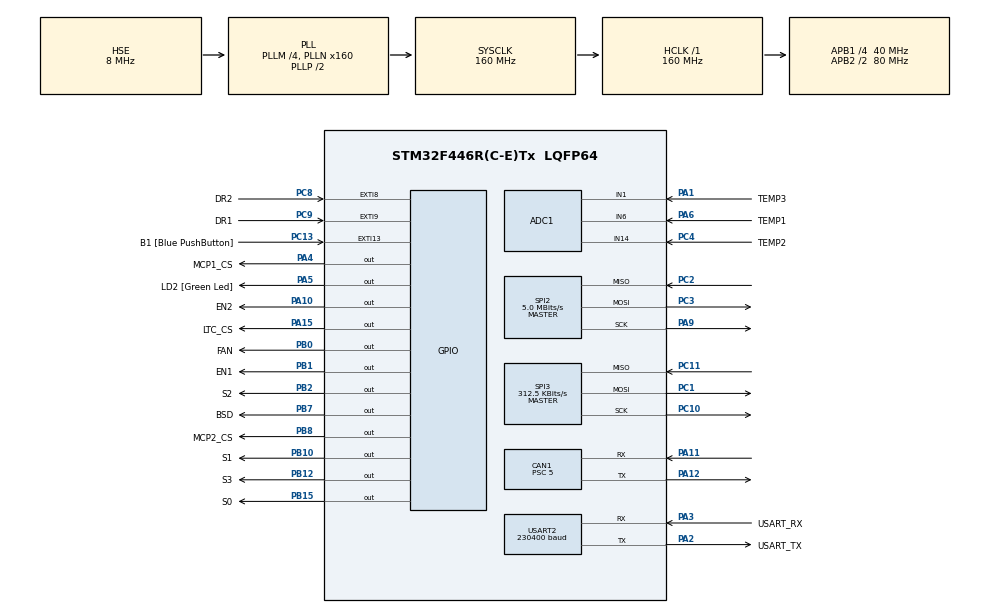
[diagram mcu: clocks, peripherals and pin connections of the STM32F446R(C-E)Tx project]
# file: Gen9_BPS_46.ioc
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ADC1.Channel-31\#ChannelRegularConversion=ADC_CHANNEL_6
ADC1.Channel-32\#ChannelRegularConversion=ADC_CHANNEL_14
ADC1.Channel-33\#ChannelRegularConversion=ADC_CHANNEL_1
ADC1.EnableAnalogWatchDog=false
ADC1.NbrOfConversion=3
ADC1.NbrOfConversionFlag=1
ADC1.Rank-31\#ChannelRegularConversion=1
ADC1.Rank-32\#ChannelRegularConversion=2
ADC1.Rank-33\#ChannelRegularConversion=3
ADC1.SamplingTime-31\#ChannelRegularConversion=ADC_SAMPLETIME_15CYCLES
ADC1.SamplingTime-32\#ChannelRegularConversion=ADC_SAMPLETIME_15CYCLES
ADC1.SamplingTime-33\#ChannelRegularConversion=ADC_SAMPLETIME_15CYCLES
ADC1.ScanConvMode=ENABLE
ADC1.master=1
CAN1.ABOM=ENABLE
CAN1.AWUM=ENABLE
CAN1.BS1=CAN_BS1_13TQ
CAN1.BS2=CAN_BS2_2TQ
CAN1.CalculateTimeBit=2000
CAN1.CalculateTimeQuantum=125.0
CAN1.Mode=CAN_MODE_NORMAL
CAN1.Prescaler=5
CAN1.SJW=CAN_SJW_1TQ
Dma.ADC1.6.Direction=DMA_PERIPH_TO_MEMORY
Dma.ADC1.6.FIFOMode=DMA_FIFOMODE_DISABLE
Dma.ADC1.6.Instance=DMA2_Stream0
Dma.ADC1.6.MemDataAlignment=DMA_MDATAALIGN_HALFWORD
Dma.ADC1.6.MemInc=DMA_MINC_ENABLE
Dma.ADC1.6.Mode=DMA_NORMAL
Dma.ADC1.6.PeriphDataAlignment=DMA_PDATAALIGN_HALFWORD
Dma.ADC1.6.PeriphInc=DMA_PINC_DISABLE
Dma.ADC1.6.Priority=DMA_PRIORITY_LOW
Dma.Request0=USART2_RX
Dma.Request1=USART2_TX
Dma.Request2=SPI2_RX
Dma.Request3=SPI2_TX
Dma.Request4=SPI3_RX
Dma.Request5=SPI3_TX
Dma.Request6=ADC1
Dma.SPI2_RX.2.Direction=DMA_PERIPH_TO_MEMORY
Dma.SPI2_RX.2.FIFOMode=DMA_FIFOMODE_DISABLE
Dma.SPI2_RX.2.Instance=DMA1_Stream3
Dma.SPI2_RX.2.MemDataAlignment=DMA_MDATAALIGN_BYTE
Dma.SPI2_RX.2.MemInc=DMA_MINC_ENABLE
Dma.SPI2_RX.2.Mode=DMA_NORMAL
Dma.SPI2_RX.2.PeriphDataAlignment=DMA_PDATAALIGN_BYTE
Dma.SPI2_RX.2.PeriphInc=DMA_PINC_DISABLE
Dma.SPI2_RX.2.Priority=DMA_PRIORITY_HIGH
Dma.SPI2_TX.3.Direction=DMA_MEMORY_TO_PERIPH
Dma.SPI2_TX.3.FIFOMode=DMA_FIFOMODE_DISABLE
Dma.SPI2_TX.3.Instance=DMA1_Stream4
Dma.SPI2_TX.3.MemDataAlignment=DMA_MDATAALIGN_BYTE
Dma.SPI2_TX.3.MemInc=DMA_MINC_ENABLE
Dma.SPI2_TX.3.Mode=DMA_NORMAL
Dma.SPI2_TX.3.PeriphDataAlignment=DMA_PDATAALIGN_BYTE
Dma.SPI2_TX.3.PeriphInc=DMA_PINC_DISABLE
Dma.SPI2_TX.3.Priority=DMA_PRIORITY_MEDIUM
Dma.SPI3_RX.4.Direction=DMA_PERIPH_TO_MEMORY
Dma.SPI3_RX.4.FIFOMode=DMA_FIFOMODE_DISABLE
Dma.SPI3_RX.4.Instance=DMA1_Stream0
Dma.SPI3_RX.4.MemDataAlignment=DMA_MDATAALIGN_BYTE
Dma.SPI3_RX.4.MemInc=DMA_MINC_ENABLE
Dma.SPI3_RX.4.Mode=DMA_NORMAL
Dma.SPI3_RX.4.PeriphDataAlignment=DMA_PDATAALIGN_BYTE
Dma.SPI3_RX.4.PeriphInc=DMA_PINC_DISABLE
Dma.SPI3_RX.4.Priority=DMA_PRIORITY_VERY_HIGH
Dma.SPI3_TX.5.Direction=DMA_MEMORY_TO_PERIPH
Dma.SPI3_TX.5.FIFOMode=DMA_FIFOMODE_DISABLE
Dma.SPI3_TX.5.Instance=DMA1_Stream7
Dma.SPI3_TX.5.MemDataAlignment=DMA_MDATAALIGN_BYTE
Dma.SPI3_TX.5.MemInc=DMA_MINC_ENABLE
Dma.SPI3_TX.5.Mode=DMA_NORMAL
Dma.SPI3_TX.5.PeriphDataAlignment=DMA_PDATAALIGN_BYTE
Dma.SPI3_TX.5.PeriphInc=DMA_PINC_DISABLE
Dma.SPI3_TX.5.Priority=DMA_PRIORITY_HIGH
Dma.USART2_RX.0.Direction=DMA_PERIPH_TO_MEMORY
Dma.USART2_RX.0.FIFOMode=DMA_FIFOMODE_DISABLE
Dma.USART2_RX.0.Instance=DMA1_Stream5
Dma.USART2_RX.0.MemDataAlignment=DMA_MDATAALIGN_BYTE
Dma.USART2_RX.0.MemInc=DMA_MINC_ENABLE
Dma.USART2_RX.0.Mode=DMA_CIRCULAR
Dma.USART2_RX.0.PeriphDataAlignment=DMA_PDATAALIGN_BYTE
Dma.USART2_RX.0.PeriphInc=DMA_PINC_DISABLE
Dma.USART2_RX.0.Priority=DMA_PRIORITY_HIGH
Dma.USART2_TX.1.Direction=DMA_MEMORY_TO_PERIPH
Dma.USART2_TX.1.FIFOMode=DMA_FIFOMODE_DISABLE
Dma.USART2_TX.1.Instance=DMA1_Stream6
Dma.USART2_TX.1.MemDataAlignment=DMA_MDATAALIGN_BYTE
Dma.USART2_TX.1.MemInc=DMA_MINC_ENABLE
Dma.USART2_TX.1.Mode=DMA_NORMAL
Dma.USART2_TX.1.PeriphDataAlignment=DMA_PDATAALIGN_BYTE
Dma.USART2_TX.1.PeriphInc=DMA_PINC_DISABLE
Dma.USART2_TX.1.Priority=DMA_PRIORITY_MEDIUM
FREERTOS.BinarySemaphores01=mcp3909_DR;mcp3909_RX;bmsTRxComplete
FREERTOS.HEAP_NUMBER=4
FREERTOS.INCLUDE_eTaskGetState=1
FREERTOS.INCLUDE_vTaskDelayUntil=1
FREERTOS.INCLUDE_xQueueGetMutexHolder=1
FREERTOS.INCLUDE_xSemaphoreGetMutexHolder=1
FREERTOS.INCLUDE_xTaskGetCurrentTaskHandle=1
FREERTOS.Mutexes01=swMtx
FREERTOS.Queues01=mainCanTxQ,64,Can_frame_t,NULL,Dynamic,NULL,NULL;mainCanRxQ,16,Can_frame_t,NULL,Dynamic,NULL,NULL
FREERTOS.Tasks01=Application,-2,512,doApplication,Default,NULL,Dynamic,NULL,NULL;Can_Processor,1,512,doProcessCan,Default,NULL,Dynamic,NULL,NULL;RT,3,512,doRT,Default,NULL,Dynamic,NULL,NULL;SMT,1,512,doSMT,Default,NULL,Dynamic,NULL,NULL;TMT,2,512,doTMT,Default,NULL,Dynamic,NULL,NULL;fucktard,3,512,doFucktard,Default,NULL,Dynamic,NULL,NULL
FREERTOS.Timers01=WWDGTmr,TmrKickDog,osTimerPeriodic,Default;HBTmr,TmrSendHB,osTimerPeriodic,Default
FREERTOS.configCHECK_FOR_STACK_OVERFLOW=2
FREERTOS.configENABLE_BACKWARD_COMPATIBILITY=0
FREERTOS.configMAX_PRIORITIES=7
FREERTOS.configMINIMAL_STACK_SIZE=512
FREERTOS.configTIMER_QUEUE_LENGTH=8
FREERTOS.configTIMER_TASK_PRIORITY=6
FREERTOS.configTIMER_TASK_STACK_DEPTH=512
FREERTOS.configTOTAL_HEAP_SIZE=65536
FREERTOS.configUSE_MALLOC_FAILED_HOOK=1
FREERTOS.configUSE_PORT_OPTIMISED_TASK_SELECTION=1
FREERTOS.configUSE_TASK_NOTIFICATIONS=0
FREERTOS.configUSE_TIMERS=1
FREERTOS.configUSE_TRACE_FACILITY=0
Mcu.Family=STM32F4
Mcu.Name=STM32F446R(C-E)Tx
Mcu.Package=LQFP64
NVIC.CAN1_RX0_IRQn=true\:5\:0\:false\:false\:true\:true
NVIC.CAN1_RX1_IRQn=true\:5\:0\:false\:false\:true\:true
NVIC.CAN1_SCE_IRQn=true\:5\:0\:false\:false\:true\:true
NVIC.CAN1_TX_IRQn=true\:5\:0\:false\:false\:true\:true
NVIC.DMA1_Stream0_IRQn=true\:5\:0\:false\:false\:true\:true
NVIC.DMA1_Stream3_IRQn=true\:6\:0\:true\:false\:true\:true
NVIC.DMA1_Stream4_IRQn=true\:6\:0\:true\:false\:true\:true
NVIC.DMA1_Stream5_IRQn=true\:6\:0\:true\:false\:true\:true
NVIC.DMA1_Stream6_IRQn=true\:6\:0\:true\:false\:true\:true
NVIC.DMA1_Stream7_IRQn=true\:5\:0\:false\:false\:true\:true
NVIC.DMA2_Stream0_IRQn=true\:5\:0\:false\:false\:true\:true
NVIC.EXTI9_5_IRQn=true\:6\:0\:true\:false\:true\:true
NVIC.PriorityGroup=NVIC_PRIORITYGROUP_4
NVIC.SPI2_IRQn=true\:6\:0\:true\:false\:true\:true
NVIC.SPI3_IRQn=true\:5\:0\:false\:false\:true\:true
NVIC.TIM6_DAC_IRQn=true\:0\:0\:false\:false\:true\:false
NVIC.TimeBase=TIM6_DAC_IRQn
NVIC.TimeBaseIP=TIM6
NVIC.USART2_IRQn=true\:5\:0\:false\:false\:true\:true
PA1.GPIO_Label=TEMP3
PA1.Signal=ADCx_IN1
PA10.GPIO_Label=EN2
PA10.GPIO_ModeDefaultOutputPP=GPIO_MODE_OUTPUT_OD
PA10.GPIO_PuPd=GPIO_NOPULL
PA10.GPIO_Speed=GPIO_SPEED_FREQ_VERY_HIGH
PA10.PinState=GPIO_PIN_RESET
PA10.Signal=GPIO_Output
PA11.Mode=Master
PA11.Signal=CAN1_RX
PA12.Mode=Master
PA12.Signal=CAN1_TX
PA13.GPIO_Label=TMS
PA13.Mode=Serial_Wire
PA13.Signal=SYS_JTMS-SWDIO
PA14.GPIO_Label=TCK
PA14.Mode=Serial_Wire
PA14.Signal=SYS_JTCK-SWCLK
PA15.GPIO_Label=LTC_CS
PA15.GPIO_PuPd=GPIO_PULLUP
PA15.GPIO_Speed=GPIO_SPEED_FREQ_VERY_HIGH
PA15.PinState=GPIO_PIN_SET
PA15.Signal=GPIO_Output
PA2.GPIO_Label=USART_TX
PA2.Mode=Asynchronous
PA2.Signal=USART2_TX
PA3.GPIO_Label=USART_RX
PA3.Mode=Asynchronous
PA3.Signal=USART2_RX
PA4.GPIO_Label=MCP1_CS
PA4.GPIO_ModeDefaultOutputPP=GPIO_MODE_OUTPUT_OD
PA4.GPIO_PuPd=GPIO_PULLUP
PA4.GPIO_Speed=GPIO_SPEED_FREQ_VERY_HIGH
PA4.PinState=GPIO_PIN_SET
PA4.Signal=GPIO_Output
PA5.GPIO_Label=LD2 [Green Led]
PA5.GPIO_Speed=GPIO_SPEED_FREQ_VERY_HIGH
PA5.Signal=GPIO_Output
PA6.GPIO_Label=TEMP1
PA6.Signal=ADCx_IN6
PA9.Mode=Full_Duplex_Master
PA9.Signal=SPI2_SCK
PB0.GPIO_Label=FAN
PB0.GPIO_Speed=GPIO_SPEED_FREQ_VERY_HIGH
PB0.Signal=GPIO_Output
PB1.GPIO_Label=EN1
PB1.GPIO_ModeDefaultOutputPP=GPIO_MODE_OUTPUT_OD
PB1.GPIO_PuPd=GPIO_NOPULL
PB1.GPIO_Speed=GPIO_SPEED_FREQ_VERY_HIGH
PB1.PinState=GPIO_PIN_RESET
PB1.Signal=GPIO_Output
PB10.GPIO_Label=S1
PB10.GPIO_Speed=GPIO_SPEED_FREQ_VERY_HIGH
PB10.Signal=GPIO_Output
PB12.GPIO_Label=S3
PB12.GPIO_Speed=GPIO_SPEED_FREQ_VERY_HIGH
PB12.Signal=GPIO_Output
PB15.GPIO_Label=S0
PB15.GPIO_Speed=GPIO_SPEED_FREQ_VERY_HIGH
PB15.Signal=GPIO_Output
PB2.GPIO_Label=S2
PB2.GPIO_PuPd=GPIO_NOPULL
PB2.GPIO_Speed=GPIO_SPEED_FREQ_VERY_HIGH
PB2.Signal=GPIO_Output
PB3.GPIO_Label=SWO
PB3.Signal=SYS_JTDO-SWO
PB5.Signal=CAN2_RX
PB6.Signal=CAN2_TX
PB7.GPIO_Label=BSD
PB7.GPIO_Speed=GPIO_SPEED_FREQ_MEDIUM
PB7.PinState=GPIO_PIN_SET
PB7.Signal=GPIO_Output
PB8.GPIO_Label=MCP2_CS
PB8.GPIO_ModeDefaultOutputPP=GPIO_MODE_OUTPUT_OD
PB8.GPIO_PuPd=GPIO_PULLUP
PB8.GPIO_Speed=GPIO_SPEED_FREQ_VERY_HIGH
PB8.PinState=GPIO_PIN_SET
PB8.Signal=GPIO_Output
PC1.GPIO_PuPd=GPIO_PULLUP
PC1.Mode=Full_Duplex_Master
PC1.Signal=SPI3_MOSI
PC10.GPIO_Mode=GPIO_MODE_AF_PP
PC10.GPIO_PuPd=GPIO_PULLUP
PC10.Mode=Full_Duplex_Master
PC10.Signal=SPI3_SCK
PC11.GPIO_PuPd=GPIO_PULLUP
PC11.Mode=Full_Duplex_Master
PC11.Signal=SPI3_MISO
PC13.GPIO_Label=B1 [Blue PushButton]
PC13.GPIO_ModeDefaultEXTI=GPIO_MODE_EVT_RISING
PC13.Signal=GPXTI13
PC14-OSC32_IN.Mode=LSE-External-Oscillator
PC14-OSC32_IN.Signal=RCC_OSC32_IN
PC15-OSC32_OUT.Mode=LSE-External-Oscillator
PC15-OSC32_OUT.Signal=RCC_OSC32_OUT
PC2.GPIO_PuPd=GPIO_PULLUP
PC2.Mode=Full_Duplex_Master
PC2.Signal=SPI2_MISO
PC3.GPIO_PuPd=GPIO_PULLUP
PC3.Mode=Full_Duplex_Master
PC3.Signal=SPI2_MOSI
PC4.GPIO_Label=TEMP2
PC4.Signal=ADCx_IN14
PC8.GPIO_Label=DR2
PC8.GPIO_ModeDefaultEXTI=GPIO_MODE_IT_FALLING
PC8.Signal=GPXTI8
PC9.GPIO_Label=DR1
PC9.GPIO_ModeDefaultEXTI=GPIO_MODE_IT_FALLING
PC9.Signal=GPXTI9
PH0-OSC_IN.Mode=HSE-External-Oscillator
PH0-OSC_IN.Signal=RCC_OSC_IN
PH1-OSC_OUT.Mode=HSE-External-Oscillator
PH1-OSC_OUT.Signal=RCC_OSC_OUT
ProjectManager.HeapSize=0x200
ProjectManager.StackSize=0x400
ProjectManager.TargetToolchain=EWARM
RCC.48MHZClocksFreq_Value=84000000
RCC.AHBFreq_Value=160000000
RCC.APB1CLKDivider=RCC_HCLK_DIV4
RCC.APB1Freq_Value=40000000
RCC.APB1TimFreq_Value=80000000
RCC.APB2CLKDivider=RCC_HCLK_DIV2
RCC.APB2Freq_Value=80000000
RCC.APB2TimFreq_Value=160000000
RCC.CortexFreq_Value=160000000
RCC.FLatency-AdvancedSettings=FLASH_LATENCY_5
RCC.HCLKFreq_Value=160000000
RCC.HSE_VALUE=8000000
RCC.HSI_VALUE=16000000
RCC.PLLM=4
RCC.PLLN=160
RCC.PLLSourceVirtual=RCC_PLLSOURCE_HSE
RCC.RCC_RTC_Clock_SourceVirtual=RCC_RTCCLKSOURCE_LSI
RCC.SYSCLKFreq_VALUE=160000000
RCC.SYSCLKSource=RCC_SYSCLKSOURCE_PLLCLK
RCC.USBFreq_Value=160000000
RCC.VCOOutputFreq_Value=320000000
SH.ADCx_IN1.0=ADC1_IN1,IN1
SH.ADCx_IN14.0=ADC1_IN14,IN14
SH.ADCx_IN6.0=ADC1_IN6,IN6
SPI2.BaudRatePrescaler=SPI_BAUDRATEPRESCALER_8
SPI2.CalculateBaudRate=5.0 MBits/s
SPI2.Direction=SPI_DIRECTION_2LINES
SPI2.Mode=SPI_MODE_MASTER
SPI2.VirtualType=VM_MASTER
SPI3.BaudRatePrescaler=SPI_BAUDRATEPRESCALER_128
SPI3.CLKPhase=SPI_PHASE_2EDGE
SPI3.CLKPolarity=SPI_POLARITY_HIGH
SPI3.CalculateBaudRate=312.5 KBits/s
SPI3.Direction=SPI_DIRECTION_2LINES
SPI3.Mode=SPI_MODE_MASTER
SPI3.VirtualType=VM_MASTER
USART2.BaudRate=230400
USART2.VirtualMode=VM_ASYNC
VP_FREERTOS_VS_ENABLE.Mode=Enabled
VP_SYS_VS_tim6.Mode=TIM6
VP_WWDG_VS_WWDG.Mode=WWDG_Activate
WWDG.Counter=127
WWDG.Prescaler=WWDG_PRESCALER_8
WWDG.Window=127
board=NUCLEO-F446RE

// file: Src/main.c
/**
  ******************************************************************************
  * File Name          : main.c
  * Description        : Main program body
  ******************************************************************************
  *
  * Copyright (c) 2017 STMicroelectronics International N.V.
  * All rights reserved.
  *
  * Redistribution and use in source and binary forms, with or without
  * modification, are permitted, provided that the following conditions are met:
  *
  * 1. Redistribution of source code must retain the above copyright notice,
  *    this list of conditions and the following disclaimer.
  * 2. Redistributions in binary form must reproduce the above copyright notice,
  *    this list of conditions and the following disclaimer in the documentation
  *    and/or other materials provided with the distribution.
  * 3. Neither the name of STMicroelectronics nor the names of other
  *    contributors to this software may be used to endorse or promote products
  *    derived from this software without specific written permission.
  * 4. This software, including modifications and/or derivative works of this
  *    software, must execute solely and exclusively on microcontroller or
  *    microprocessor devices manufactured by or for STMicroelectronics.
  * 5. Redistribution and use of this software other than as permitted under
  *    this license is void and will automatically terminate your rights under
  *    this license.
  *
  * THIS SOFTWARE IS PROVIDED BY STMICROELECTRONICS AND CONTRIBUTORS "AS IS"
  * AND ANY EXPRESS, IMPLIED OR STATUTORY WARRANTIES, INCLUDING, BUT NOT
  * LIMITED TO, THE IMPLIED WARRANTIES OF MERCHANTABILITY, FITNESS FOR A
  * PARTICULAR PURPOSE AND NON-INFRINGEMENT OF THIRD PARTY INTELLECTUAL PROPERTY
  * RIGHTS ARE DISCLAIMED TO THE FULLEST EXTENT PERMITTED BY LAW. IN NO EVENT
  * SHALL STMICROELECTRONICS OR CONTRIBUTORS BE LIABLE FOR ANY DIRECT, INDIRECT,
  * INCIDENTAL, SPECIAL, EXEMPLARY, OR CONSEQUENTIAL DAMAGES (INCLUDING, BUT NOT
  * LIMITED TO, PROCUREMENT OF SUBSTITUTE GOODS OR SERVICES; LOSS OF USE, DATA,
  * OR PROFITS; OR BUSINESS INTERRUPTION) HOWEVER CAUSED AND ON ANY THEORY OF
  * LIABILITY, WHETHER IN CONTRACT, STRICT LIABILITY, OR TORT (INCLUDING
  * NEGLIGENCE OR OTHERWISE) ARISING IN ANY WAY OUT OF THE USE OF THIS SOFTWARE,
  * EVEN IF ADVISED OF THE POSSIBILITY OF SUCH DAMAGE.
  *
  ******************************************************************************
  */
#include "main.h"
#include "stm32f4xx_hal.h"
#include "cmsis_os.h"

/* USER CODE BEGIN Includes */
#include "../../CAN_ID.h"
#include "nodeConf.h"
#include "can.h"
#include "serial.h"
#include "ts_lib.h"
#include "thermistor.h"
#include "nodeMiscHelpers.h"
#include "psb1cal.h"

// RTOS Task functions + helpers
#include "Can_Processor.h"

//LTC6804
#include "LTC68041.h"

//MCP3909
#include "mcp3909.h"

/* USER CODE END Includes */

ADC_HandleTypeDef hadc1;
DMA_HandleTypeDef hdma_adc1;

CAN_HandleTypeDef hcan1;

SPI_HandleTypeDef hspi2;
SPI_HandleTypeDef hspi3;
DMA_HandleTypeDef hdma_spi2_rx;
DMA_HandleTypeDef hdma_spi2_tx;
DMA_HandleTypeDef hdma_spi3_rx;
DMA_HandleTypeDef hdma_spi3_tx;

UART_HandleTypeDef huart2;
DMA_HandleTypeDef hdma_usart2_rx;
DMA_HandleTypeDef hdma_usart2_tx;

WWDG_HandleTypeDef hwwdg;

osThreadId ApplicationHandle;
osThreadId Can_ProcessorHandle;
osThreadId RTHandle;
osThreadId SMTHandle;
osThreadId TMTHandle;
osThreadId fucktardHandle;
osMessageQId mainCanTxQHandle;
osMessageQId mainCanRxQHandle;
osTimerId WWDGTmrHandle;
osTimerId HBTmrHandle;
osMutexId swMtxHandle;
osSemaphoreId mcp3909_DRHandle;
osSemaphoreId mcp3909_RXHandle;
osSemaphoreId bmsTRxCompleteHandle;

/* USER CODE BEGIN PV */
/* Private variables ---------------------------------------------------------*/
bmsChainHandleTypeDef hbms1;

MCP3909HandleTypeDef hmcp1;
uint8_t mcpRxBuf[REG_LEN * REGS_NUM];
uint8_t mcpTxBuf[REG_LEN * REGS_NUM + CTRL_LEN];

uint8_t init_Done = 0;

// SW_Sentinel will fail the CC firmware check and result in node addition failure!
//const uint32_t firmwareString = 0x00000001;			// Firmware Version string
//const uint8_t selfNodeID = bps_nodeID;					// The nodeID of this node
//uint32_t selfStatusWord = INIT;							// Initialize
//#define NODE_CONFIGURED
//
//#ifndef NODE_CONFIGURED
//#error "NODE NOT CONFIGURED. GO CONFIGURE IT IN NODECONF.H!"
//#endif
/* USER CODE END PV */

void SystemClock_Config(void);
void Error_Handler(void);
static void MX_GPIO_Init(void);
static void MX_DMA_Init(void);
static void MX_USART2_UART_Init(void);
static void MX_ADC1_Init(void);
static void MX_CAN1_Init(void);
static void MX_SPI2_Init(void);
static void MX_SPI3_Init(void);
static void MX_WWDG_Init(void);
void doApplication(void const * argument);
void doProcessCan(void const * argument);
void doRT(void const * argument);
void doSMT(void const * argument);
void doTMT(void const * argument);
void doFucktard(void const * argument);
void TmrKickDog(void const * argument);
void TmrSendHB(void const * argument);

/* USER CODE BEGIN PFP */
/* Private function prototypes -----------------------------------------------*/

// Data Ready pin triggered callback (PA1)
void HAL_GPIO_EXTI_Callback(uint16_t pinNum){
	if(init_Done){
		if(pinNum == DR1_Pin){
	//		HAL_NVIC_DisableIRQ(EXTI1_IRQn);
	//		HAL_NVIC_ClearPendingIRQ(EXTI9_5_IRQn);
			HAL_NVIC_DisableIRQ(EXTI9_5_IRQn);
	//		HAL_NVIC_ClearPendingIRQ(EXTI9_5_IRQn);
			mcp3909_readAllChannels(&hmcp1,hmcp1.pRxBuf);
			xSemaphoreGiveFromISR(mcp3909_DRHandle, NULL);
		}
	}
}

void HAL_SPI_TxRxCpltCallback(SPI_HandleTypeDef *hspi){
	// Check which SPI issued interrupt
	if(hspi == (hbms1.hspi)){
		HAL_GPIO_WritePin(LTC_CS_GPIO_Port,LTC_CS_Pin, GPIO_PIN_SET);
		xSemaphoreGiveFromISR(bmsTRxCompleteHandle, NULL);
	}else if(hspi == (hmcp1.hspi)){
		HAL_GPIO_WritePin(MCP1_CS_GPIO_Port,MCP1_CS_Pin, GPIO_PIN_SET);
		xSemaphoreGiveFromISR(mcp3909_RXHandle, NULL);
	}
}

void HAL_SPI_TxCpltCallback(SPI_HandleTypeDef *hspi){
	// Check which SPI issued interrupt
	if(hspi == (hbms1.hspi)){
		HAL_GPIO_WritePin(LTC_CS_GPIO_Port,LTC_CS_Pin, GPIO_PIN_SET);
	}else if(hspi == (hmcp1.hspi)){
		HAL_GPIO_WritePin(MCP1_CS_GPIO_Port,MCP1_CS_Pin, GPIO_PIN_SET);
	}
}

void EM_Init(){
	hmcp1.phase[0] = 0;
	hmcp1.phase[1] = 0;
	hmcp1.phase[2] = 0;

    // TODO: Shutdown channels 2-5 for BPS
	for(uint8_t i= 0; i < MAX_CHANNEL_NUM; i++){
		hmcp1.channel[i].PGA = PGA_1;
		hmcp1.channel[i].boost = BOOST_ON;
		hmcp1.channel[i].dither = DITHER_ON;
		hmcp1.channel[i].reset = RESET_OFF;
		hmcp1.channel[i].shutdown = SHUTDOWN_OFF;
		hmcp1.channel[i].resolution = RES_24;
	}

    // Amplify current sense channels to improve dynamic resolution
    hmcp1.channel[1].PGA = PGA_2;
    hmcp1.channel[3].PGA = PGA_4;   // TODO: Remove for BPS
    hmcp1.channel[5].PGA = PGA_4;   // TODO: Remove for BPS

	hmcp1.extCLK = 0;
	hmcp1.extVREF = 0;
	hmcp1.hspi = &hspi2;
	hmcp1.osr = OSR_256;
	hmcp1.prescale = PRESCALE_1;
	hmcp1.readType = READ_TYPE;

	hmcp1.pRxBuf = mcpRxBuf;
	hmcp1.pTxBuf = mcpTxBuf;

//	HAL_NVIC_SetPriority(EXTI1_IRQn, 6, 0); // set DR pin interrupt priority
//	HAL_NVIC_SetPriority(EXTI9_5_IRQn, 6, 0);
	mcp3909_init(&hmcp1);
}
/* USER CODE END PFP */

int main(void)
{

  /* USER CODE BEGIN 1 */
//#define DISABLE_RT
//#define DISABLE_SMT
//#define DISABLE_TMT
//#define DISABLE_CAN
#define DISABLE_SERIAL_OUT
	selfStatusWord = INIT;
  /* USER CODE END 1 */

  /* MCU Configuration----------------------------------------------------------*/

  /* Reset of all peripherals, Initializes the Flash interface and the Systick. */
  HAL_Init();

  /* Configure the system clock */
  SystemClock_Config();

  /* Initialize all configured peripherals */
  MX_GPIO_Init();
  MX_DMA_Init();
  MX_USART2_UART_Init();
  MX_ADC1_Init();
  MX_CAN1_Init();
  MX_SPI2_Init();
  MX_SPI3_Init();
  MX_WWDG_Init();

  /* USER CODE BEGIN 2 */
  __HAL_GPIO_EXTI_CLEAR_IT(DR1_Pin);
  HAL_NVIC_DisableIRQ(EXTI9_5_IRQn);
  __HAL_GPIO_EXTI_CLEAR_IT(DR1_Pin);

  init_Done = 1;

  Serial2_begin();
    Serial2_writeBuf("Booting... \n");

    ////*IF YOU GET HCAN1 NOT DEFINED ERROR, CHECK NODECONF.H FIRST!*////
    bxCan_begin(&hcan1, &mainCanRxQHandle, &mainCanTxQHandle);
    // TODO: Set node-specific CAN filters
//    bxCan_addMaskedFilterStd(0,0,0); // Filter: Status word group (ignore nodeID)
//    bxCan_addMaskedFilterExt(0,0,0);
    bxCan_addMaskedFilterStd(p2pOffset,0xFF0,0);

#ifndef DISABLE_TMT
    Temp_begin(&hadc1);
#endif

  #ifndef DISABLE_SMT
    /*
     * LTC68041 SETUP
     */
  //  Set up the global ADC configs for the LTC6804
  //  ltc68041ChainInitStruct bmsInitParams[LTC_TOTAL_IC];
  //  LTC68041_Initialize(&hbms1, bmsInitParams);
    hbms1.hspi = &hspi3;

    HAL_Delay(3);	// Empirically tested wait to correct SPI failing; see associated commit note

    if(ltc68041_Initialize(&hbms1) != 0){
      HAL_GPIO_WritePin(LD2_GPIO_Port,LD2_Pin,1);
  	  for(;;);
    }
    HAL_WWDG_Refresh(&hwwdg);
  #endif

  #ifndef DISABLE_RT
    EM_Init();
    HAL_WWDG_Refresh(&hwwdg);
  #endif
  /* USER CODE END 2 */

  /* Create the mutex(es) */
  /* definition and creation of swMtx */
  osMutexDef(swMtx);
  swMtxHandle = osMutexCreate(osMutex(swMtx));

  /* Create the semaphores(s) */
  /* definition and creation of mcp3909_DR */
  osSemaphoreDef(mcp3909_DR);
  mcp3909_DRHandle = osSemaphoreCreate(osSemaphore(mcp3909_DR), 1);

  /* definition and creation of mcp3909_RX */
  osSemaphoreDef(mcp3909_RX);
  mcp3909_RXHandle = osSemaphoreCreate(osSemaphore(mcp3909_RX), 1);

  /* definition and creation of bmsTRxComplete */
  osSemaphoreDef(bmsTRxComplete);
  bmsTRxCompleteHandle = osSemaphoreCreate(osSemaphore(bmsTRxComplete), 1);

  /* Create the timer(s) */
  /* definition and creation of WWDGTmr */
  osTimerDef(WWDGTmr, TmrKickDog);
  WWDGTmrHandle = osTimerCreate(osTimer(WWDGTmr), osTimerPeriodic, NULL);

  /* definition and creation of HBTmr */
  osTimerDef(HBTmr, TmrSendHB);
  HBTmrHandle = osTimerCreate(osTimer(HBTmr), osTimerPeriodic, NULL);

  /* USER CODE BEGIN RTOS_TIMERS */
  /* start timers, add new ones, ... */
  osTimerStart(WWDGTmrHandle, WD_Interval);
  osTimerStart(HBTmrHandle, HB_Interval);
  /* USER CODE END RTOS_TIMERS */

  /* Create the thread(s) */
  /* definition and creation of Application */
  osThreadDef(Application, doApplication, osPriorityLow, 0, 512);
  ApplicationHandle = osThreadCreate(osThread(Application), NULL);

  /* definition and creation of Can_Processor */
  osThreadDef(Can_Processor, doProcessCan, osPriorityAboveNormal, 0, 512);
  Can_ProcessorHandle = osThreadCreate(osThread(Can_Processor), NULL);

  /* definition and creation of RT */
  osThreadDef(RT, doRT, osPriorityRealtime, 0, 512);
  RTHandle = osThreadCreate(osThread(RT), NULL);

  /* definition and creation of SMT */
  osThreadDef(SMT, doSMT, osPriorityAboveNormal, 0, 512);
  SMTHandle = osThreadCreate(osThread(SMT), NULL);

  /* definition and creation of TMT */
  osThreadDef(TMT, doTMT, osPriorityHigh, 0, 512);
  TMTHandle = osThreadCreate(osThread(TMT), NULL);

  /* definition and creation of fucktard */
  osThreadDef(fucktard, doFucktard, osPriorityRealtime, 0, 512);
  fucktardHandle = osThreadCreate(osThread(fucktard), NULL);

  /* Create the queue(s) */
  /* definition and creation of mainCanTxQ */
  osMessageQDef(mainCanTxQ, 64, Can_frame_t);
  mainCanTxQHandle = osMessageCreate(osMessageQ(mainCanTxQ), NULL);

  /* definition and creation of mainCanRxQ */
  osMessageQDef(mainCanRxQ, 16, Can_frame_t);
  mainCanRxQHandle = osMessageCreate(osMessageQ(mainCanRxQ), NULL);

  /* Start scheduler */
  osKernelStart();

  /* We should never get here as control is now taken by the scheduler */

  /* Infinite loop */
  while (1)
  {

  }

}

/** System Clock Configuration
*/
void SystemClock_Config(void)
{

  RCC_OscInitTypeDef RCC_OscInitStruct;
  RCC_ClkInitTypeDef RCC_ClkInitStruct;

    /**Configure the main internal regulator output voltage
    */
  __HAL_RCC_PWR_CLK_ENABLE();

  __HAL_PWR_VOLTAGESCALING_CONFIG(PWR_REGULATOR_VOLTAGE_SCALE1);

    /**Initializes the CPU, AHB and APB busses clocks
    */
  RCC_OscInitStruct.OscillatorType = RCC_OSCILLATORTYPE_HSE;
  RCC_OscInitStruct.HSEState = RCC_HSE_ON;
  RCC_OscInitStruct.PLL.PLLState = RCC_PLL_ON;
  RCC_OscInitStruct.PLL.PLLSource = RCC_PLLSOURCE_HSE;
  RCC_OscInitStruct.PLL.PLLM = 4;
  RCC_OscInitStruct.PLL.PLLN = 160;
  RCC_OscInitStruct.PLL.PLLP = RCC_PLLP_DIV2;
  RCC_OscInitStruct.PLL.PLLQ = 2;
  RCC_OscInitStruct.PLL.PLLR = 2;
  if (HAL_RCC_OscConfig(&RCC_OscInitStruct) != HAL_OK)
  {
    Error_Handler();
  }

    /**Initializes the CPU, AHB and APB busses clocks
    */
  RCC_ClkInitStruct.ClockType = RCC_CLOCKTYPE_HCLK|RCC_CLOCKTYPE_SYSCLK
                              |RCC_CLOCKTYPE_PCLK1|RCC_CLOCKTYPE_PCLK2;
  RCC_ClkInitStruct.SYSCLKSource = RCC_SYSCLKSOURCE_PLLCLK;
  RCC_ClkInitStruct.AHBCLKDivider = RCC_SYSCLK_DIV1;
  RCC_ClkInitStruct.APB1CLKDivider = RCC_HCLK_DIV4;
  RCC_ClkInitStruct.APB2CLKDivider = RCC_HCLK_DIV2;

  if (HAL_RCC_ClockConfig(&RCC_ClkInitStruct, FLASH_LATENCY_5) != HAL_OK)
  {
    Error_Handler();
  }

    /**Configure the Systick interrupt time
    */
  HAL_SYSTICK_Config(HAL_RCC_GetHCLKFreq()/1000);

    /**Configure the Systick
    */
  HAL_SYSTICK_CLKSourceConfig(SYSTICK_CLKSOURCE_HCLK);

  /* SysTick_IRQn interrupt configuration */
  HAL_NVIC_SetPriority(SysTick_IRQn, 15, 0);
}

/* ADC1 init function */
static void MX_ADC1_Init(void)
{

  ADC_ChannelConfTypeDef sConfig;

    /**Configure the global features of the ADC (Clock, Resolution, Data Alignment and number of conversion)
    */
  hadc1.Instance = ADC1;
  hadc1.Init.ClockPrescaler = ADC_CLOCK_SYNC_PCLK_DIV4;
  hadc1.Init.Resolution = ADC_RESOLUTION_12B;
  hadc1.Init.ScanConvMode = ENABLE;
  hadc1.Init.ContinuousConvMode = DISABLE;
  hadc1.Init.DiscontinuousConvMode = DISABLE;
  hadc1.Init.ExternalTrigConvEdge = ADC_EXTERNALTRIGCONVEDGE_NONE;
  hadc1.Init.ExternalTrigConv = ADC_SOFTWARE_START;
  hadc1.Init.DataAlign = ADC_DATAALIGN_RIGHT;
  hadc1.Init.NbrOfConversion = 3;
  hadc1.Init.DMAContinuousRequests = DISABLE;
  hadc1.Init.EOCSelection = ADC_EOC_SINGLE_CONV;
  if (HAL_ADC_Init(&hadc1) != HAL_OK)
  {
    Error_Handler();
  }

    /**Configure for the selected ADC regular channel its corresponding rank in the sequencer and its sample time.
    */
  sConfig.Channel = ADC_CHANNEL_6;
  sConfig.Rank = 1;
  sConfig.SamplingTime = ADC_SAMPLETIME_15CYCLES;
  if (HAL_ADC_ConfigChannel(&hadc1, &sConfig) != HAL_OK)
  {
    Error_Handler();
  }

    /**Configure for the selected ADC regular channel its corresponding rank in the sequencer and its sample time.
    */
  sConfig.Channel = ADC_CHANNEL_14;
  sConfig.Rank = 2;
  if (HAL_ADC_ConfigChannel(&hadc1, &sConfig) != HAL_OK)
  {
    Error_Handler();
  }

    /**Configure for the selected ADC regular channel its corresponding rank in the sequencer and its sample time.
    */
  sConfig.Channel = ADC_CHANNEL_1;
  sConfig.Rank = 3;
  if (HAL_ADC_ConfigChannel(&hadc1, &sConfig) != HAL_OK)
  {
    Error_Handler();
  }

}

/* CAN1 init function */
static void MX_CAN1_Init(void)
{

  hcan1.Instance = CAN1;
  hcan1.Init.Prescaler = 5;
  hcan1.Init.Mode = CAN_MODE_NORMAL;
  hcan1.Init.SJW = CAN_SJW_1TQ;
  hcan1.Init.BS1 = CAN_BS1_13TQ;
  hcan1.Init.BS2 = CAN_BS2_2TQ;
  hcan1.Init.TTCM = DISABLE;
  hcan1.Init.ABOM = ENABLE;
  hcan1.Init.AWUM = ENABLE;
  hcan1.Init.NART = DISABLE;
  hcan1.Init.RFLM = DISABLE;
  hcan1.Init.TXFP = DISABLE;
  if (HAL_CAN_Init(&hcan1) != HAL_OK)
  {
    Error_Handler();
  }

}

/* SPI2 init function */
static void MX_SPI2_Init(void)
{

  hspi2.Instance = SPI2;
  hspi2.Init.Mode = SPI_MODE_MASTER;
  hspi2.Init.Direction = SPI_DIRECTION_2LINES;
  hspi2.Init.DataSize = SPI_DATASIZE_8BIT;
  hspi2.Init.CLKPolarity = SPI_POLARITY_LOW;
  hspi2.Init.CLKPhase = SPI_PHASE_1EDGE;
  hspi2.Init.NSS = SPI_NSS_SOFT;
  hspi2.Init.BaudRatePrescaler = SPI_BAUDRATEPRESCALER_8;
  hspi2.Init.FirstBit = SPI_FIRSTBIT_MSB;
  hspi2.Init.TIMode = SPI_TIMODE_DISABLE;
  hspi2.Init.CRCCalculation = SPI_CRCCALCULATION_DISABLE;
  hspi2.Init.CRCPolynomial = 10;
  if (HAL_SPI_Init(&hspi2) != HAL_OK)
  {
    Error_Handler();
  }

}

/* SPI3 init function */
static void MX_SPI3_Init(void)
{

  hspi3.Instance = SPI3;
  hspi3.Init.Mode = SPI_MODE_MASTER;
  hspi3.Init.Direction = SPI_DIRECTION_2LINES;
  hspi3.Init.DataSize = SPI_DATASIZE_8BIT;
  hspi3.Init.CLKPolarity = SPI_POLARITY_HIGH;
  hspi3.Init.CLKPhase = SPI_PHASE_2EDGE;
  hspi3.Init.NSS = SPI_NSS_SOFT;
  hspi3.Init.BaudRatePrescaler = SPI_BAUDRATEPRESCALER_128;
  hspi3.Init.FirstBit = SPI_FIRSTBIT_MSB;
  hspi3.Init.TIMode = SPI_TIMODE_DISABLE;
  hspi3.Init.CRCCalculation = SPI_CRCCALCULATION_DISABLE;
  hspi3.Init.CRCPolynomial = 10;
  if (HAL_SPI_Init(&hspi3) != HAL_OK)
  {
    Error_Handler();
  }

}

/* USART2 init function */
static void MX_USART2_UART_Init(void)
{

  huart2.Instance = USART2;
  huart2.Init.BaudRate = 230400;
  huart2.Init.WordLength = UART_WORDLENGTH_8B;
  huart2.Init.StopBits = UART_STOPBITS_1;
  huart2.Init.Parity = UART_PARITY_NONE;
  huart2.Init.Mode = UART_MODE_TX_RX;
  huart2.Init.HwFlowCtl = UART_HWCONTROL_NONE;
  huart2.Init.OverSampling = UART_OVERSAMPLING_16;
  if (HAL_UART_Init(&huart2) != HAL_OK)
  {
    Error_Handler();
  }

}

/* WWDG init function */
static void MX_WWDG_Init(void)
{

  hwwdg.Instance = WWDG;
  hwwdg.Init.Prescaler = WWDG_PRESCALER_8;
  hwwdg.Init.Window = 127;
  hwwdg.Init.Counter = 127;
  hwwdg.Init.EWIMode = WWDG_EWI_DISABLE;
  if (HAL_WWDG_Init(&hwwdg) != HAL_OK)
  {
    Error_Handler();
  }

}

static void MX_DMA_Init(void)
{
  /* DMA controller clock enable */
  __HAL_RCC_DMA1_CLK_ENABLE();
  __HAL_RCC_DMA2_CLK_ENABLE();

  /* DMA interrupt init */
  /* DMA1_Stream0_IRQn interrupt configuration */
  HAL_NVIC_SetPriority(DMA1_Stream0_IRQn, 5, 0);
  HAL_NVIC_EnableIRQ(DMA1_Stream0_IRQn);
  /* DMA1_Stream3_IRQn interrupt configuration */
  HAL_NVIC_SetPriority(DMA1_Stream3_IRQn, 6, 0);
  HAL_NVIC_EnableIRQ(DMA1_Stream3_IRQn);
  /* DMA1_Stream4_IRQn interrupt configuration */
  HAL_NVIC_SetPriority(DMA1_Stream4_IRQn, 6, 0);
  HAL_NVIC_EnableIRQ(DMA1_Stream4_IRQn);
  /* DMA1_Stream5_IRQn interrupt configuration */
  HAL_NVIC_SetPriority(DMA1_Stream5_IRQn, 6, 0);
  HAL_NVIC_EnableIRQ(DMA1_Stream5_IRQn);
  /* DMA1_Stream6_IRQn interrupt configuration */
  HAL_NVIC_SetPriority(DMA1_Stream6_IRQn, 6, 0);
  HAL_NVIC_EnableIRQ(DMA1_Stream6_IRQn);
  /* DMA1_Stream7_IRQn interrupt configuration */
  HAL_NVIC_SetPriority(DMA1_Stream7_IRQn, 5, 0);
  HAL_NVIC_EnableIRQ(DMA1_Stream7_IRQn);
  /* DMA2_Stream0_IRQn interrupt configuration */
  HAL_NVIC_SetPriority(DMA2_Stream0_IRQn, 5, 0);
  HAL_NVIC_EnableIRQ(DMA2_Stream0_IRQn);

}

/** Configure pins as
        * Analog
        * Input
        * Output
        * EVENT_OUT
        * EXTI
     PB5   ------> CAN2_RX
     PB6   ------> CAN2_TX
*/
static void MX_GPIO_Init(void)
{

  GPIO_InitTypeDef GPIO_InitStruct;

  /* GPIO Ports Clock Enable */
  __HAL_RCC_GPIOC_CLK_ENABLE();
  __HAL_RCC_GPIOH_CLK_ENABLE();
  __HAL_RCC_GPIOA_CLK_ENABLE();
  __HAL_RCC_GPIOB_CLK_ENABLE();

  /*Configure GPIO pin Output Level */
  HAL_GPIO_WritePin(GPIOA, MCP1_CS_Pin|LTC_CS_Pin, GPIO_PIN_SET);

  /*Configure GPIO pin Output Level */
  HAL_GPIO_WritePin(GPIOA, LD2_Pin|EN2_Pin, GPIO_PIN_RESET);

  /*Configure GPIO pin Output Level */
  HAL_GPIO_WritePin(GPIOB, FAN_Pin|EN1_Pin|S2_Pin|S1_Pin
                          |S3_Pin|S0_Pin, GPIO_PIN_RESET);

  /*Configure GPIO pin Output Level */
  HAL_GPIO_WritePin(GPIOB, BSD_Pin|MCP2_CS_Pin, GPIO_PIN_SET);

  /*Configure GPIO pin : B1_Pin */
  GPIO_InitStruct.Pin = B1_Pin;
  GPIO_InitStruct.Mode = GPIO_MODE_EVT_RISING;
  GPIO_InitStruct.Pull = GPIO_NOPULL;
  HAL_GPIO_Init(B1_GPIO_Port, &GPIO_InitStruct);

  /*Configure GPIO pin : MCP1_CS_Pin */
  GPIO_InitStruct.Pin = MCP1_CS_Pin;
  GPIO_InitStruct.Mode = GPIO_MODE_OUTPUT_OD;
  GPIO_InitStruct.Pull = GPIO_PULLUP;
  GPIO_InitStruct.Speed = GPIO_SPEED_FREQ_VERY_HIGH;
  HAL_GPIO_Init(MCP1_CS_GPIO_Port, &GPIO_InitStruct);

  /*Configure GPIO pin : LD2_Pin */
  GPIO_InitStruct.Pin = LD2_Pin;
  GPIO_InitStruct.Mode = GPIO_MODE_OUTPUT_PP;
  GPIO_InitStruct.Pull = GPIO_NOPULL;
  GPIO_InitStruct.Speed = GPIO_SPEED_FREQ_VERY_HIGH;
  HAL_GPIO_Init(LD2_GPIO_Port, &GPIO_InitStruct);

  /*Configure GPIO pins : FAN_Pin S2_Pin S1_Pin S3_Pin
                           S0_Pin */
  GPIO_InitStruct.Pin = FAN_Pin|S2_Pin|S1_Pin|S3_Pin
                          |S0_Pin;
  GPIO_InitStruct.Mode = GPIO_MODE_OUTPUT_PP;
  GPIO_InitStruct.Pull = GPIO_NOPULL;
  GPIO_InitStruct.Speed = GPIO_SPEED_FREQ_VERY_HIGH;
  HAL_GPIO_Init(GPIOB, &GPIO_InitStruct);

  /*Configure GPIO pin : EN1_Pin */
  GPIO_InitStruct.Pin = EN1_Pin;
  GPIO_InitStruct.Mode = GPIO_MODE_OUTPUT_OD;
  GPIO_InitStruct.Pull = GPIO_NOPULL;
  GPIO_InitStruct.Speed = GPIO_SPEED_FREQ_VERY_HIGH;
  HAL_GPIO_Init(EN1_GPIO_Port, &GPIO_InitStruct);

  /*Configure GPIO pins : DR2_Pin DR1_Pin */
  GPIO_InitStruct.Pin = DR2_Pin|DR1_Pin;
  GPIO_InitStruct.Mode = GPIO_MODE_IT_FALLING;
  GPIO_InitStruct.Pull = GPIO_NOPULL;
  HAL_GPIO_Init(GPIOC, &GPIO_InitStruct);

  /*Configure GPIO pin : EN2_Pin */
  GPIO_InitStruct.Pin = EN2_Pin;
  GPIO_InitStruct.Mode = GPIO_MODE_OUTPUT_OD;
  GPIO_InitStruct.Pull = GPIO_NOPULL;
  GPIO_InitStruct.Speed = GPIO_SPEED_FREQ_VERY_HIGH;
  HAL_GPIO_Init(EN2_GPIO_Port, &GPIO_InitStruct);

  /*Configure GPIO pin : LTC_CS_Pin */
  GPIO_InitStruct.Pin = LTC_CS_Pin;
  GPIO_InitStruct.Mode = GPIO_MODE_OUTPUT_PP;
  GPIO_InitStruct.Pull = GPIO_PULLUP;
  GPIO_InitStruct.Speed = GPIO_SPEED_FREQ_VERY_HIGH;
  HAL_GPIO_Init(LTC_CS_GPIO_Port, &GPIO_InitStruct);

  /*Configure GPIO pins : PB5 PB6 */
  GPIO_InitStruct.Pin = GPIO_PIN_5|GPIO_PIN_6;
  GPIO_InitStruct.Mode = GPIO_MODE_AF_PP;
  GPIO_InitStruct.Pull = GPIO_NOPULL;
  GPIO_InitStruct.Speed = GPIO_SPEED_FREQ_VERY_HIGH;
  GPIO_InitStruct.Alternate = GPIO_AF9_CAN2;
  HAL_GPIO_Init(GPIOB, &GPIO_InitStruct);

  /*Configure GPIO pin : BSD_Pin */
  GPIO_InitStruct.Pin = BSD_Pin;
  GPIO_InitStruct.Mode = GPIO_MODE_OUTPUT_PP;
  GPIO_InitStruct.Pull = GPIO_NOPULL;
  GPIO_InitStruct.Speed = GPIO_SPEED_FREQ_MEDIUM;
  HAL_GPIO_Init(BSD_GPIO_Port, &GPIO_InitStruct);

  /*Configure GPIO pin : MCP2_CS_Pin */
  GPIO_InitStruct.Pin = MCP2_CS_Pin;
  GPIO_InitStruct.Mode = GPIO_MODE_OUTPUT_OD;
  GPIO_InitStruct.Pull = GPIO_PULLUP;
  GPIO_InitStruct.Speed = GPIO_SPEED_FREQ_VERY_HIGH;
  HAL_GPIO_Init(MCP2_CS_GPIO_Port, &GPIO_InitStruct);

  /* EXTI interrupt init*/
  HAL_NVIC_SetPriority(EXTI9_5_IRQn, 6, 0);
  HAL_NVIC_EnableIRQ(EXTI9_5_IRQn);

}

/* doApplication function */
void doApplication(void const * argument)
{

  /* USER CODE BEGIN 5 */
  /* Infinite loop */
  for(;;)
  {
//	  while(Serial2_available()){
//		  Serial2_write(Serial2_read());
//	  }
	  osDelay(10000);
  }
  /* USER CODE END 5 */
}

/* doProcessCan function */
void doProcessCan(void const * argument)
{
  /* USER CODE BEGIN doProcessCan */
  /* Infinite loop */
	for(;;){
			// Wrapper function for the CAN Processing Logic
			// Handles all CAN Protocol Suite based responses and tasks
#ifndef DISABLE_CAN
			Can_Processor();
#else
			osDelay(10000);
#endif
		}
  /* USER CODE END doProcessCan */
}

/* doRT function */
void doRT(void const * argument)
{
  /* USER CODE BEGIN doRT */
#ifndef DISABLE_RT

#ifndef DISABLE_CAN
	static Can_frame_t newFrame;
	newFrame.isExt = 0;
	newFrame.isRemote = 0;
	newFrame.dlc = 8;
#else
	osDelay(10);
#endif
#ifndef DISABLE_SERIAL_OUT
	static uint8_t intBuf[10];
#endif
	static uint32_t previousWaitTime;
//	osDelay(50);

  /* Infinite loop */
  for(;;)
  {
#ifndef DISABLE_CAN
	  if((selfStatusWord & 0x07) == ACTIVE){
#endif
	  	previousWaitTime = osKernelSysTick();
		mcp3909_wakeup(&hmcp1);
		xSemaphoreTake(mcp3909_DRHandle, portMAX_DELAY);
		xSemaphoreTake(mcp3909_RXHandle, portMAX_DELAY);
		mcp3909_parseChannelData(&hmcp1);

		#ifndef DISABLE_CAN
		int32_t temp;

		newFrame.id = battPwr;
		temp = psb1ch0Map((hmcp1.registers[0]));
		if(temp>PSB_OV || temp<PSB_UV) assert_bps_fault(0x200, temp);
		*(int32_t*)(&(newFrame.Data[0])) = __REV(temp);
		temp= psb1ch1Map((hmcp1.registers[1]));
		if(temp>PSB_OA || temp<PSB_UA) assert_bps_fault(0x201, temp);
		*(int32_t*)(&(newFrame.Data[4])) = __REV(temp);
		bxCan_sendFrame(&newFrame);

		// newFrame.id = motorPwr;
		// temp = psb1ch0Map(__REV(hmcp1.registers[2]));
		// if(temp>PSB_OV || temp<PSB_UV) assert_bps_fault(0x202, temp);
		// *(int32_t*)(&(newFrame.Data[0])) = temp;
		// temp= psb1ch1Map(__REV(hmcp1.registers[3]));
		// if(temp>PSB_OA || temp<PSB_UA) assert_bps_fault(0x203, temp);
		// *(int32_t*)(&(newFrame.Data[4])) = temp;
		// bxCan_sendFrame(&newFrame);

		// newFrame.id = lpBusPwr;
		// temp = psb1ch0Map(__REV(hmcp1.registers[4]));
		// if(temp>PSB_OV || temp<PSB_UV) assert_bps_fault(0x204, temp);
		// *(int32_t*)(&(newFrame.Data[0])) = temp;
		// temp= psb1ch1Map(__REV(hmcp1.registers[5]));
		// if(temp>PSB_OA || temp<PSB_UA) assert_bps_fault(0x205, temp);
		// *(int32_t*)(&(newFrame.Data[4])) = temp;
		// bxCan_sendFrame(&newFrame);
		#endif

		// XXX: Energy metering algorithm

		mcp3909_sleep(&hmcp1);
		HAL_WWDG_Refresh(&hwwdg);
		osDelayUntil(&previousWaitTime, RT_Interval);
//		osDelay(RT_Interval);
#ifndef DISABLE_CAN
	  }else{
		  osDelay(1);
	  }
#endif
  }
#else
  for(;;){
	  osDelay(1000);
  }
#endif
  /* USER CODE END doRT */
}

/* doSMT function */
void doSMT(void const * argument)
{
  /* USER CODE BEGIN doSMT */
#ifndef DISABLE_SMT

#ifndef DISABLE_CAN
	static Can_frame_t newFrame;
	newFrame.dlc = 8;
	newFrame.isExt = 0;
	newFrame.isRemote = 0;
#else
	osDelay(10);
#endif

  /* Infinite loop */
  for(;;)
  {
#ifndef DISABLE_CAN
	  if((selfStatusWord & 0x07) == ACTIVE){
#endif
		  ltc68041_clearCell(&hbms1);
		  osDelay(3);
		  ltc68041_startCVConv(&hbms1);

		  // Delay enough time but also make sure that the chip doesn't go into sleep mode
		for(uint8_t i = 0; i < 9 * LTC_TOTAL_IC; i++){
			osDelay(1);
			wakeup_sleep();
		}

		// Read the register groups
		ltc68041_readRegGroup(&hbms1, RDCVA);
		osDelay(2);
		ltc68041_parseCV(&hbms1, A);

		ltc68041_readRegGroup(&hbms1, RDCVB);
		osDelay(2);
		ltc68041_parseCV(&hbms1, B);

		ltc68041_readRegGroup(&hbms1, RDCVC);
		osDelay(2);
		ltc68041_parseCV(&hbms1, C);

		ltc68041_readRegGroup(&hbms1, RDCVD);
		osDelay(2);
		ltc68041_parseCV(&hbms1, D);

//		success = ltc68041_readRegGroup(&hbms1, RDSTATB);
//		osDelay(2);
//		ltc68041_parseSTAT(&hbms1, B);

#define vovTo100uV(x) ((x+1)*16)

		for(uint8_t i=0; i<LTC_TOTAL_IC; i++){
          // TODO BUG INFO: Change following number per board
			for(uint8_t j=0; j<12; j+=4){
#ifndef DISABLE_CAN
				newFrame.id = voltOffset+i*3+j/4;
				newFrame.Data[0] = hbms1.board[i].CVR[j+0] >> 8;
				newFrame.Data[1] = hbms1.board[i].CVR[j+0] & 0xff;
				newFrame.Data[2] = hbms1.board[i].CVR[j+1] >> 8;
				newFrame.Data[3] = hbms1.board[i].CVR[j+1] & 0xff;
				newFrame.Data[4] = hbms1.board[i].CVR[j+2] >> 8;
				newFrame.Data[5] = hbms1.board[i].CVR[j+2] & 0xff;
				newFrame.Data[6] = hbms1.board[i].CVR[j+3] >> 8;
				newFrame.Data[7] = hbms1.board[i].CVR[j+3] & 0xff;
				bxCan_sendFrame(&newFrame);
//				if(bxCan_sendFrame(&newFrame) != 0){
//					Serial2_writeBuf("oh no!\n);
//				}
#endif
#ifndef DISABLE_SERIAL_OUT
				static uint8_t msg[3];
				msg[0] = hbms1.board[i].CVR[j+0] >> 8;
				msg[1] = hbms1.board[i].CVR[j+0] & 0xff;
				Serial2_writeBuf(msg);
#endif
				for(uint8_t k=0; k<4; k++){
                  if(LTC_CELL_EN[i] & (1<<(j+k))){
					if(hbms1.board[i].CVR[j+k] > vovTo100uV(VOV) || hbms1.board[i].CVR[j+k] < vovTo100uV(VUV)){
#ifndef DISABLE_SERIAL_OUT
						Serial2_writeBuf(ohno);
#endif
						assert_bps_fault(i*3+j/4, hbms1.board[i].CVR[j+k]);
					}
                  }
				}
			}
		}

		//Check OV UV flags
//		for(int i=0; i<3; i++){
//			if(hbms1.board[i].STATR[5] || (hbms1.board[i].STATR[6] & 0xff)){
//				assert_bps_fault(i,0);
//			}
//		}

		osDelay(SMT_Interval - (8+LTC_TOTAL_IC*4));
#ifndef DISABLE_CAN
	  }else{
		  osDelay(1);
	  }
#endif
  }
#else
  for(;;){
	  osDelay(1000);
  }
#endif
  /* USER CODE END doSMT */
}

/* doTMT function */
void doTMT(void const * argument)
{
  /* USER CODE BEGIN doTMT */
  #ifndef DISABLE_TMT

  #ifndef DISABLE_CAN
  	static Can_frame_t newFrame;
  	newFrame.dlc = 8;
  	newFrame.isRemote = 0;
  	newFrame.isExt = 0;
  #else
  	osDelay(10);
  #endif

    /* Infinite loop */
    for(;;)
    {
  #ifndef DISABLE_CAN
  	  if((selfStatusWord & 0x07) == ACTIVE){
  #endif
          int32_t microCelcius;
  		  for(int i=0; 2*i<TEMP_CHANNELS; i++){
  			  for(int j=0; j<2; j++){
				  microCelcius = getMicroCelcius(2*i+j);
  				  resetReading(2*i+j);

  				  if(microCelcius >= OVER_TEMPERATURE || microCelcius <= UNDER_TEMPERATURE)
  					  assert_bps_fault(tempOffset+i*2+j, microCelcius);
  #ifndef DISABLE_CAN
  				  *(int32_t*)(&(newFrame.Data[j*4])) = __REV(microCelcius);
  #endif
  			  }
  #ifndef DISABLE_CAN
  			  newFrame.id = tempOffset + i;
  			  bxCan_sendFrame(&newFrame);
  #endif
  		  }
  		  osDelay(TMT_Interval);
  #ifndef DISABLE_CAN
  	  }else{
  		  osDelay(1);
  	  }
  #endif
    }

  #else
    for(;;){
  	  osDelay(1000);
    }
  #endif
  /* USER CODE END doTMT */
}

/* doFucktard function */
void doFucktard(void const * argument)
{
  /* USER CODE BEGIN doFucktard */
  /* Infinite loop */
  for(;;)
  {
    HAL_GPIO_TogglePin(FAN_GPIO_Port, FAN_Pin);
    osDelay(2500);
    HAL_GPIO_TogglePin(BSD_GPIO_Port, BSD_Pin);
    osDelay(2500);
  }
  /* USER CODE END doFucktard */
}

/* TmrKickDog function */
void TmrKickDog(void const * argument)
{
  /* USER CODE BEGIN TmrKickDog */
	// CHECKED
	taskENTER_CRITICAL();
	HAL_WWDG_Refresh(&hwwdg);
	taskEXIT_CRITICAL();
  /* USER CODE END TmrKickDog */
}

/* TmrSendHB function */
void TmrSendHB(void const * argument)
{
  /* USER CODE BEGIN TmrSendHB */
	// CHECKED
	static Can_frame_t newFrame;

//	newFrame.isExt = 0;
//	newFrame.isRemote = 0;
	// ^ is initialized as 0

	if(getSelfState() == ACTIVE){
		// Assemble new heartbeat frame
		newFrame.id = selfNodeID + swOffset;
		newFrame.dlc = CAN_HB_DLC;
		for(int i=0; i<4; i++){
			newFrame.Data[3-i] = (selfStatusWord >> (8*i)) & 0xff;			// Convert uint32_t -> uint8_t
		}
		bxCan_sendFrame(&newFrame);
		#ifdef DEBUG
			static uint8_t hbmsg[] = "Heartbeat issued\n";
			Serial2_writeBytes(hbmsg, sizeof(hbmsg)-1);
		#endif
	}
	else if (getSelfState() == INIT){
		// Assemble new addition request (firmware version) frame
		newFrame.id = selfNodeID + fwOffset;
		newFrame.dlc = CAN_FW_DLC;
		for(int i=0; i<4; i++){
			newFrame.Data[3-i] = (firmwareString >> (8*i)) & 0xff;			// Convert uint32_t -> uint8_t
		}
		bxCan_sendFrame(&newFrame);
		#ifdef DEBUG
			static uint8_t hbmsg[] = "Init handshake issued\n";
			Serial2_writeBytes(hbmsg, sizeof(hbmsg)-1);
		#endif
	}
	// No heartbeats sent in other states
  /* USER CODE END TmrSendHB */
}

void HAL_TIM_PeriodElapsedCallback(TIM_HandleTypeDef *htim)
{
  if (htim->Instance == TIM6) {
    HAL_IncTick();
  }
}

void Error_Handler(void)
{
  while(1)
  {
  }
}

/************************ (C) COPYRIGHT STMicroelectronics *****END OF FILE****/
